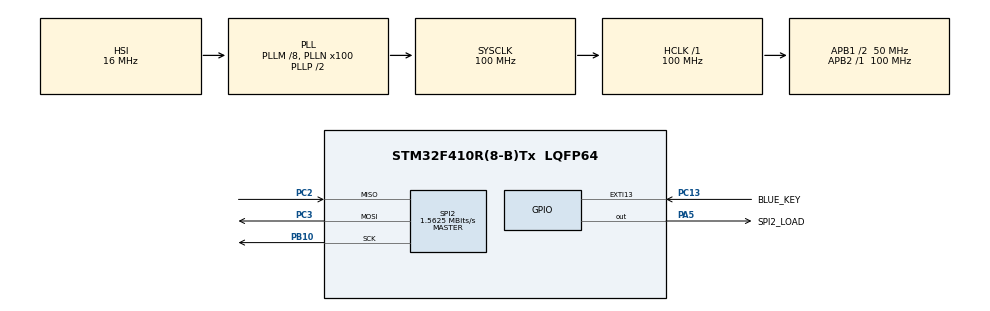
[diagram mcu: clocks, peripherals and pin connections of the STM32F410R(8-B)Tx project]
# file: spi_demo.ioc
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Mcu.Family=STM32F4
Mcu.Name=STM32F410R(8-B)Tx
Mcu.Package=LQFP64
NVIC.EXTI15_10_IRQn=true\:0\:0\:false\:false\:true
NVIC.PriorityGroup=NVIC_PRIORITYGROUP_4
NVIC.SPI2_IRQn=true\:0\:0\:false\:false\:true
PA13.GPIO_Label=TMS
PA13.Signal=SYS_JTMS-SWDIO
PA14.GPIO_Label=TCK
PA14.Signal=SYS_JTCK-SWCLK
PA2.GPIO_Label=USART_TX
PA2.GPIO_Mode=GPIO_MODE_AF_PP
PA2.GPIO_PuPd=GPIO_NOPULL
PA2.GPIO_Speed=GPIO_SPEED_FREQ_VERY_HIGH
PA2.Signal=USART2_TX
PA3.GPIO_Label=USART_RX
PA3.GPIO_Mode=GPIO_MODE_AF_PP
PA3.GPIO_PuPd=GPIO_NOPULL
PA3.GPIO_Speed=GPIO_SPEED_FREQ_VERY_HIGH
PA3.Signal=USART2_RX
PA5.GPIO_Label=SPI2_LOAD
PA5.GPIO_ModeDefaultOutputPP=GPIO_MODE_OUTPUT_PP
PA5.GPIO_PuPd=GPIO_NOPULL
PA5.GPIO_Speed=GPIO_SPEED_FREQ_LOW
PA5.Signal=GPIO_Output
PB10.Mode=Full_Duplex_Master
PB10.Signal=SPI2_SCK
PB3.GPIO_Label=SWO
PB3.Signal=SYS_JTDO-SWO
PC13-ANTI_TAMP.GPIO_Label=BLUE_KEY
PC13-ANTI_TAMP.GPIO_ModeDefaultEXTI=GPIO_MODE_IT_FALLING
PC13-ANTI_TAMP.Signal=GPXTI13
PC14-OSC32_IN.Mode=LSE-External-Oscillator
PC14-OSC32_IN.Signal=RCC_OSC32_IN
PC15-OSC32_OUT.Mode=LSE-External-Oscillator
PC15-OSC32_OUT.Signal=RCC_OSC32_OUT
PC2.Mode=Full_Duplex_Master
PC2.Signal=SPI2_MISO
PC3.Mode=Full_Duplex_Master
PC3.Signal=SPI2_MOSI
PH0\ -\ OSC_IN.Mode=HSE-External-Oscillator
PH0\ -\ OSC_IN.Signal=RCC_OSC_IN
PH1\ -\ OSC_OUT.Mode=HSE-External-Oscillator
PH1\ -\ OSC_OUT.Signal=RCC_OSC_OUT
ProjectManager.HeapSize=0x200
ProjectManager.StackSize=0x400
ProjectManager.TargetToolchain=MDK-ARM V5
RCC.48MHZClocksFreq_Value=50000000
RCC.AHBFreq_Value=100000000
RCC.APB1CLKDivider=RCC_HCLK_DIV2
RCC.APB1Freq_Value=50000000
RCC.APB1TimFreq_Value=100000000
RCC.APB2Freq_Value=100000000
RCC.APB2TimFreq_Value=100000000
RCC.CortexFreq_Value=100000000
RCC.FLatency-AdvancedSettings=FLASH_LATENCY_3
RCC.HCLKFreq_Value=100000000
RCC.HSE_VALUE=8000000
RCC.HSI_VALUE=16000000
RCC.PLLM=8
RCC.PLLN=100
RCC.SYSCLKFreq_VALUE=100000000
RCC.SYSCLKSource=RCC_SYSCLKSOURCE_PLLCLK
RCC.VCOOutputFreq_Value=200000000
SPI2.BaudRatePrescaler=SPI_BAUDRATEPRESCALER_32
SPI2.CalculateBaudRate=1.5625 MBits/s
SPI2.Direction=SPI_DIRECTION_2LINES
SPI2.Mode=SPI_MODE_MASTER
SPI2.VirtualType=VM_MASTER
board=NUCLEO-F410RB

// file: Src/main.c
/**
  ******************************************************************************
  * File Name          : main.c
  * Description        : Main program body
  ******************************************************************************
  ** This notice applies to any and all portions of this file
  * that are not between comment pairs USER CODE BEGIN and
  * USER CODE END. Other portions of this file, whether
  * inserted by the user or by software development tools
  * are owned by their respective copyright owners.
  *
  * COPYRIGHT(c) 2017 STMicroelectronics
  *
  * Redistribution and use in source and binary forms, with or without modification,
  * are permitted provided that the following conditions are met:
  *   1. Redistributions of source code must retain the above copyright notice,
  *      this list of conditions and the following disclaimer.
  *   2. Redistributions in binary form must reproduce the above copyright notice,
  *      this list of conditions and the following disclaimer in the documentation
  *      and/or other materials provided with the distribution.
  *   3. Neither the name of STMicroelectronics nor the names of its contributors
  *      may be used to endorse or promote products derived from this software
  *      without specific prior written permission.
  *
  * THIS SOFTWARE IS PROVIDED BY THE COPYRIGHT HOLDERS AND CONTRIBUTORS "AS IS"
  * AND ANY EXPRESS OR IMPLIED WARRANTIES, INCLUDING, BUT NOT LIMITED TO, THE
  * IMPLIED WARRANTIES OF MERCHANTABILITY AND FITNESS FOR A PARTICULAR PURPOSE ARE
  * DISCLAIMED. IN NO EVENT SHALL THE COPYRIGHT HOLDER OR CONTRIBUTORS BE LIABLE
  * FOR ANY DIRECT, INDIRECT, INCIDENTAL, SPECIAL, EXEMPLARY, OR CONSEQUENTIAL
  * DAMAGES (INCLUDING, BUT NOT LIMITED TO, PROCUREMENT OF SUBSTITUTE GOODS OR
  * SERVICES; LOSS OF USE, DATA, OR PROFITS; OR BUSINESS INTERRUPTION) HOWEVER
  * CAUSED AND ON ANY THEORY OF LIABILITY, WHETHER IN CONTRACT, STRICT LIABILITY,
  * OR TORT (INCLUDING NEGLIGENCE OR OTHERWISE) ARISING IN ANY WAY OUT OF THE USE
  * OF THIS SOFTWARE, EVEN IF ADVISED OF THE POSSIBILITY OF SUCH DAMAGE.
  *
  ******************************************************************************
  */
#include "main.h"
#include "stm32f4xx_hal.h"
#include "spi.h"
#include "gpio.h"

/* USER CODE BEGIN Includes */
#include "../sandz/led.h"
/* USER CODE END Includes */

/* USER CODE BEGIN PV */
/* Private variables ---------------------------------------------------------*/
uint16_t add_num = 0;
uint8_t data[] = {0xc0, 0xf9, 0xa4, 0xb0, 0x99, 0x92, 0x82, 0xf8, 0x80, 0x90, 0x88, 0x83, 0xc6, 0xa1, 0x86, 0x8e, 0x7f};

/* USER CODE END PV */

void SystemClock_Config(void);

/* USER CODE BEGIN PFP */
/* Private function prototypes -----------------------------------------------*/

/* USER CODE END PFP */

int main(void)
{

    /* MCU Configuration----------------------------------------------------------*/

    /* Reset of all peripherals, Initializes the Flash interface and the Systick. */
    HAL_Init();

    /* Configure the system clock */
    SystemClock_Config();

    /* Initialize all configured peripherals */
    MX_GPIO_Init();
    MX_SPI2_Init();

    /* Infinite loop */
    while (1)
    {

        /* USER CODE BEGIN 3 */
        // HAL_Delay(1000);
        // add_num ++;
        // if (add_num >=1000){
        //   add_num = 0;
        // }
        hc74959_display(add_num);
    }
    /* USER CODE END 3 */
}

/** System Clock Configuration
*/
void SystemClock_Config(void)
{

    RCC_OscInitTypeDef RCC_OscInitStruct;
    RCC_ClkInitTypeDef RCC_ClkInitStruct;

    /**Configure the main internal regulator output voltage
    */
    __HAL_RCC_PWR_CLK_ENABLE();

    __HAL_PWR_VOLTAGESCALING_CONFIG(PWR_REGULATOR_VOLTAGE_SCALE1);

    /**Initializes the CPU, AHB and APB busses clocks
    */
    RCC_OscInitStruct.OscillatorType = RCC_OSCILLATORTYPE_HSI;
    RCC_OscInitStruct.HSIState = RCC_HSI_ON;
    RCC_OscInitStruct.HSICalibrationValue = 16;
    RCC_OscInitStruct.PLL.PLLState = RCC_PLL_ON;
    RCC_OscInitStruct.PLL.PLLSource = RCC_PLLSOURCE_HSI;
    RCC_OscInitStruct.PLL.PLLM = 8;
    RCC_OscInitStruct.PLL.PLLN = 100;
    RCC_OscInitStruct.PLL.PLLP = RCC_PLLP_DIV2;
    RCC_OscInitStruct.PLL.PLLQ = 4;
    RCC_OscInitStruct.PLL.PLLR = 2;
    if (HAL_RCC_OscConfig(&RCC_OscInitStruct) != HAL_OK)
    {
        _Error_Handler(__FILE__, __LINE__);
    }

    /**Initializes the CPU, AHB and APB busses clocks
    */
    RCC_ClkInitStruct.ClockType = RCC_CLOCKTYPE_HCLK | RCC_CLOCKTYPE_SYSCLK | RCC_CLOCKTYPE_PCLK1 | RCC_CLOCKTYPE_PCLK2;
    RCC_ClkInitStruct.SYSCLKSource = RCC_SYSCLKSOURCE_PLLCLK;
    RCC_ClkInitStruct.AHBCLKDivider = RCC_SYSCLK_DIV1;
    RCC_ClkInitStruct.APB1CLKDivider = RCC_HCLK_DIV2;
    RCC_ClkInitStruct.APB2CLKDivider = RCC_HCLK_DIV1;

    if (HAL_RCC_ClockConfig(&RCC_ClkInitStruct, FLASH_LATENCY_3) != HAL_OK)
    {
        _Error_Handler(__FILE__, __LINE__);
    }

    /**Configure the Systick interrupt time
    */
    HAL_SYSTICK_Config(HAL_RCC_GetHCLKFreq() / 1000);

    /**Configure the Systick
    */
    HAL_SYSTICK_CLKSourceConfig(SYSTICK_CLKSOURCE_HCLK);

    /* SysTick_IRQn interrupt configuration */
    HAL_NVIC_SetPriority(SysTick_IRQn, 0, 0);
}

/* USER CODE BEGIN 4 */
void test(){
    add_num++;
    HAL_Delay(1000);
}
void HAL_GPIO_EXTI_Callback(uint16_t GPIO_Pin)
{
    switch (GPIO_Pin)
    {
    case BLUE_KEY_Pin:
        add_num++;
        if (add_num >= 1000)
        {
            add_num = 0;
        }
        break;
    default:
        break;
    }
}

void HAL_SPI_TxCpltCallback(SPI_HandleTypeDef *hspi){
    if (hspi == &hspi2){

    }
}
/* USER CODE END 4 */

void _Error_Handler(char *file, int line)
{
    while (1)
    {
    }
}

/************************ (C) COPYRIGHT STMicroelectronics *****END OF FILE****/
